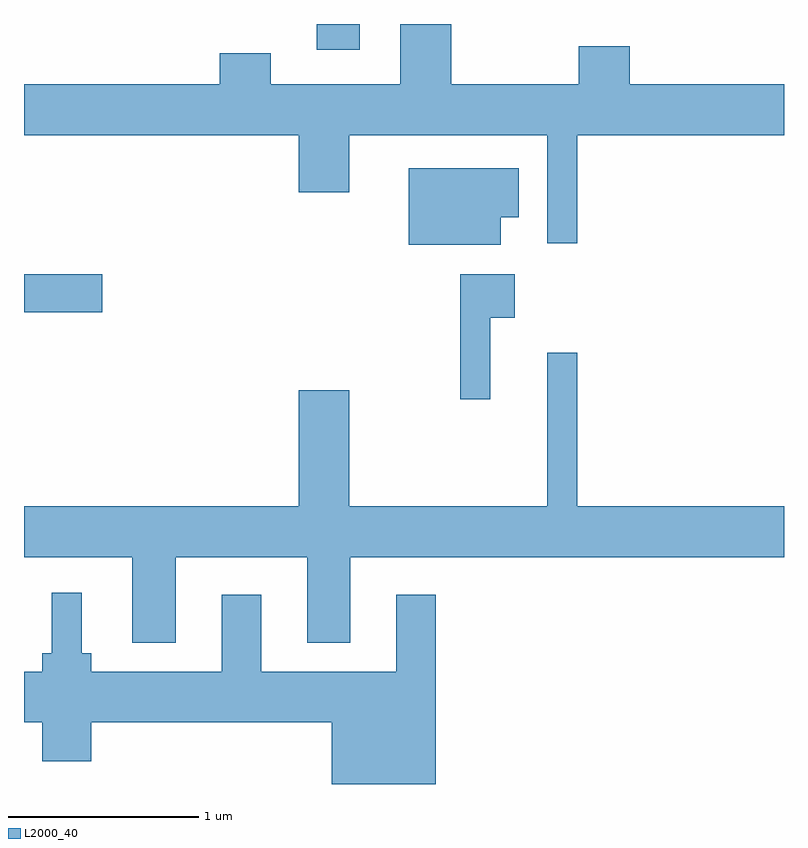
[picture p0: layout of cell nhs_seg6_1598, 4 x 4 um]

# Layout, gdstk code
import gdstk
lib = gdstk.Library(unit=1e-6, precision=1e-09)
def R(c, l, rs):  # rectangles x0, y0, x1, y1
    for r in rs: c.add(gdstk.rectangle(r[:2], r[2:], *l))
def P(c, l, *ps):  # polygons
    for p in ps: c.add(gdstk.Polygon(p, *l))
L2000_40 = (2000, 40)

nhs_seg6_1598 = lib.new_cell('nhs_seg6_1598')
R(nhs_seg6_1598, L2000_40, [(233.611,1564.646,234.024,1564.844)])
P(nhs_seg6_1598, L2000_40, [(236.524,1565.576),(237.611,1565.576),(237.611,1565.844),(236.799,1565.844),(236.799,1566.044),(236.531,1566.044),(236.531,1565.844),(235.859,1565.844),(235.859,1566.162),(235.591,1566.162),(235.591,1565.844),(234.909,1565.844),(234.909,1566.009),(234.641,1566.009),(234.641,1565.844),(233.611,1565.844),(233.611,1565.576),(235.056,1565.576),(235.056,1565.276),(235.324,1565.276),(235.324,1565.576),(236.366,1565.576),(236.366,1565.008),(236.524,1565.008)],
  [(235.379,1566.162),(234.101,1566.162),(234.101,1566.161),(235.151,1566.161),(235.151,1566.026),(235.379,1566.026)],
  [(236.119,1565.146),(236.214,1565.146),(236.214,1565.404),(235.636,1565.404),(235.636,1565.001),(236.119,1565.001)],
  [(236.064,1564.616),(236.194,1564.616),(236.194,1564.844),(235.906,1564.844),(235.906,1564.188),(236.064,1564.188)],
  [(234.409,1563.356),(235.101,1563.356),(235.101,1562.906),(235.329,1562.906),(235.329,1563.356),(237.611,1563.356),(237.611,1563.624),(236.524,1563.624),(236.524,1564.433),(236.366,1564.433),(236.366,1563.624),(235.324,1563.624),(235.324,1564.234),(235.056,1564.234),(235.056,1563.624),(233.611,1563.624),(233.611,1563.356),(234.181,1563.356),(234.181,1562.906),(234.409,1562.906)],
  [(235.779,1563.159),(235.571,1563.159),(235.571,1562.754),(234.859,1562.754),(234.859,1563.159),(234.651,1563.159),(234.651,1562.754),(233.964,1562.754),(233.964,1562.849),(233.914,1562.849),(233.914,1563.168),(233.756,1563.168),(233.756,1562.849),(233.706,1562.849),(233.706,1562.754),(233.611,1562.754),(233.611,1562.486),(233.706,1562.486),(233.706,1562.281),(233.964,1562.281),(233.964,1562.486),(235.231,1562.486),(235.231,1562.162),(235.779,1562.162)])

lib.write_gds('nhs_seg6_1598.gds')
